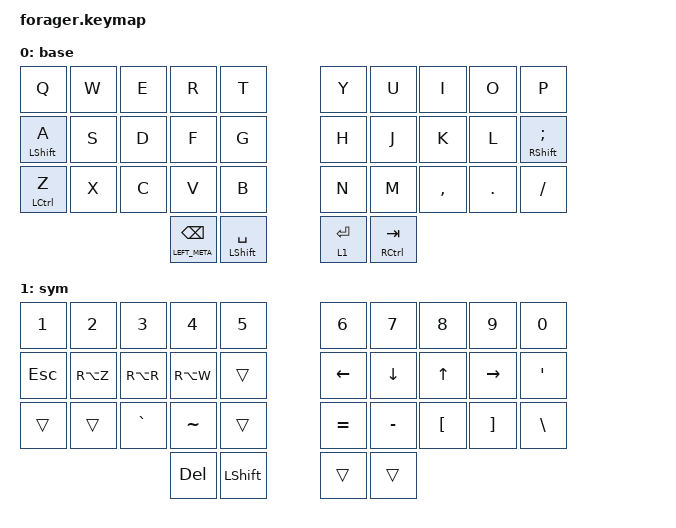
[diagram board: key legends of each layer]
#include <behaviors.dtsi>
#include <dt-bindings/zmk/bt.h>
#include <dt-bindings/zmk/keys.h>

/ {
    behaviors {
        as: auto_shift {
            compatible = "zmk,behavior-hold-tap";
            #binding-cells = <2>;
            tapping-term-ms = <250>;
            require-prior-idle-ms = <100>;
            flavor = "tap-preferred";
            bindings = <&kp>, <&kp>;
        };

        ht: hold_tap {
            compatible = "zmk,behavior-hold-tap";
            #binding-cells = <2>;
            tapping-term-ms = <200>;
            flavor = "balanced";
            bindings = <&kp>, <&kp>;
        };

        sabk: shift_to_alt_backspace {
            compatible = "zmk,behavior-mod-morph";
            #binding-cells = <0>;
            bindings = <&kp BSPC>, <&kp LA(BSPC)>;

            mods = <(MOD_LSFT|MOD_RSFT)>;
        };

        smart_shift: smart_shift {
            compatible = "zmk,behavior-mod-morph";
            #binding-cells = <0>;
            bindings = <&sk LSHFT>, <&caps_word>;

            mods = <(MOD_LSFT|MOD_RSFT)>;
        };

        sym_bspc: left_thumb_hold_tap {
            compatible = "zmk,behavior-hold-tap";
            #binding-cells = <2>;
            flavor = "tap-preferred";
            tapping-term-ms = <150>;
            quick-tap-ms = <200>;
            bindings = <&mo>, <&sabk>;
        };

        lhm: left_homerow_mods {
            compatible = "zmk,behavior-hold-tap";
            #binding-cells = <2>;
            flavor = "balanced";
            tapping-term-ms = <280>;
            quick-tap-ms = <175>;
            require-prior-idle-ms = <150>;
            bindings = <&kp>, <&kp>;

            hold-trigger-key-positions = <5 6 7 8 9 15 16 17 18 19 25 26 27 28 29 30 31 32 33>;
        };

        rhm: right_homerow_mods {
            compatible = "zmk,behavior-hold-tap";
            #binding-cells = <2>;
            flavor = "balanced";
            tapping-term-ms = <280>;
            quick-tap-ms = <175>;
            require-prior-idle-ms = <150>;
            bindings = <&kp>, <&kp>;

            hold-trigger-key-positions = <0 1 2 3 4 10 11 12 13 14 20 21 22 23 24 30 31 32 33>;
        };
    };

    conditional_layers {
        compatible = "zmk,conditional-layers";

        tri_layer {
            if-layers = <1 3>;
            then-layer = <3>;
        };
    };

    combos {
        compatible = "zmk,combos";

        bt_clear {
            bindings = <&bt BT_CLR_ALL>;
            key-positions = <0 1 9 8>;
        };

        quick_tab {
            bindings = <&kp TAB>;
            key-positions = <16 17 18>;
        };
    };

    keymap {
        compatible = "zmk,keymap";

        base {
            bindings = <
  &kp Q             &kp W  &kp E  &kp R                    &kp T                   &kp Y        &kp U          &kp I      &kp O       &kp P
  &ht LEFT_SHIFT A  &kp S  &kp D  &kp F                    &kp G                   &kp H        &kp J          &kp K      &kp L       &ht RIGHT_SHIFT SEMI
  &ht LCTRL Z       &kp X  &kp C  &kp V                    &kp B                   &kp N        &kp M          &kp COMMA  &kp PERIOD  &kp SLASH
                                  &ht LEFT_META BACKSPACE  &ht LEFT_SHIFT SPACE    &lt 1 ENTER  &ht RCTRL TAB
            >;
        };

        sym {
            bindings = <
  &kp NUMBER_1    &kp NUMBER_2     &kp NUMBER_3  &kp NUMBER_4  &kp NUMBER_5      &kp NUMBER_6    &kp NUMBER_7    &kp NUMBER_8      &kp NUMBER_9       &kp NUMBER_0
  &kp ESC         &kp RA(Z)        &kp RA(R)     &kp RA(W)     &trans            &kp LEFT_ARROW  &kp DOWN_ARROW  &kp UP_ARROW      &kp RIGHT_ARROW    &kp SQT
  &trans          &trans           &kp GRAVE     &kp TILDE     &trans            &kp EQUAL       &kp MINUS       &kp LEFT_BRACKET  &kp RIGHT_BRACKET  &kp BACKSLASH
                                                 &kp DELETE    &kp LEFT_SHIFT    &trans          &trans
            >;
        };
    };
};

&lt {
    // require-prior-idle-ms = <100>;

    tapping-term-ms = <150>;
    quick-tap-ms = <200>;
};

&mt { quick-tap-ms = <200>; };

&sk {
    release-after-ms = <500>;
    quick-release;
};
